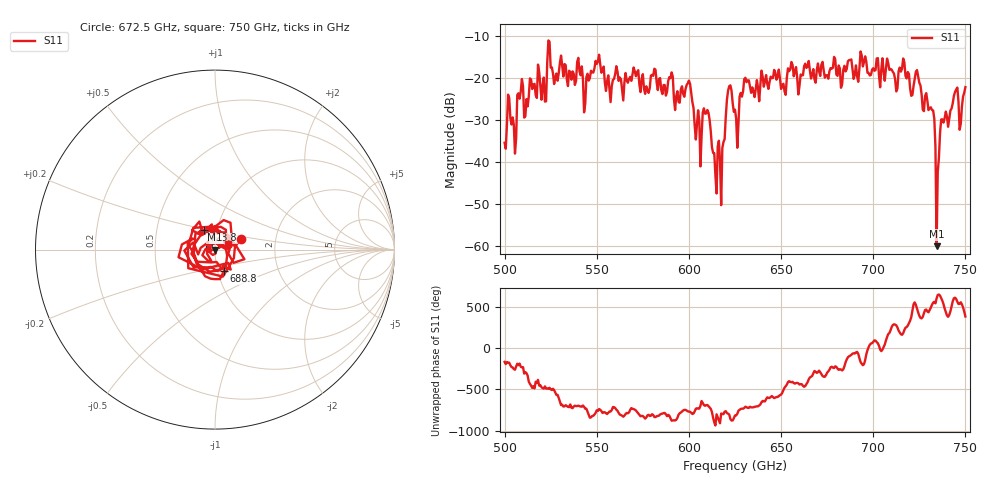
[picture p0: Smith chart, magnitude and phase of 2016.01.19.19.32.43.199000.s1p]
!Created with skrf (http://scikit-rf.org).
# GHz S RI R 50.0
!freq ReS11 ImS11
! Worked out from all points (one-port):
!   401 points, 500 GHz to 750 GHz, reference 50 ohm
!   lowest |S11| = -60.1 dB at 734.4 GHz (marker M1), VSWR 1.00, Z = 50 - j0.0881 ohm
!   |S11| at or under -10 dB: start of sweep to end of sweep
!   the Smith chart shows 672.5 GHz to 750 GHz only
!   S11 on the Smith chart (normalised r, x): 672.5 GHz: 1.32, +0.17; 688.8 GHz: 1.08, -0.26; 723.8 GHz: 0.86, +0.19; 750 GHz: 1.15, +0.08
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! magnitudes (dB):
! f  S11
! 500 GHz  -35.4
! 503.1 GHz  -29.6
! 505 GHz  -31.1
! 508.8 GHz  -23.3
! 511.9 GHz  -25.0
! 521.2 GHz  -19.9
! 524.4 GHz  -11.3
! 531.2 GHz  -17.0
! 562.5 GHz  -19.9
! 590 GHz  -20.0
! 593.8 GHz  -23.1
! 600 GHz  -20.6
! 605 GHz  -27.7
! 609.4 GHz  -28.5
! 616.2 GHz  -35.0
! 621.9 GHz  -21.9
! 625 GHz  -27.5
! 631.2 GHz  -21.0
! 656.2 GHz  -16.9
! 672.5 GHz  -16.1
! 687.5 GHz  -15.7
! 688.8 GHz  -17.8
! 718.8 GHz  -18.6
! 723.8 GHz  -18.1
! 731.9 GHz  -27.6
! 734.4 GHz  -60.1
! 738.1 GHz  -30.6
! 750 GHz  -22.2
